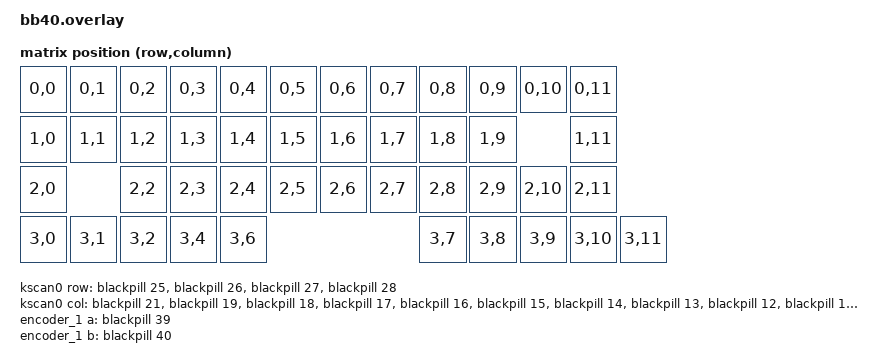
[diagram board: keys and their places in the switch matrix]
/*
 * Copyright (c) 2022 The ZMK Contributors
 *
 * SPDX-License-Identifier: MIT
 */

#include <dt-bindings/zmk/matrix_transform.h>

/ {
    chosen {
        zmk,kscan = &kscan0;
        zmk,matrix_transform = &default_transform;
    };

    kscan0: kscan {
        compatible = "zmk,kscan-gpio-matrix";
        label = "KSCAN";

        diode-direction = "col2row";
        row-gpios
            = <&blackpill 25 (GPIO_ACTIVE_HIGH | GPIO_PULL_DOWN)>
            , <&blackpill 26 (GPIO_ACTIVE_HIGH | GPIO_PULL_DOWN)>
            , <&blackpill 27 (GPIO_ACTIVE_HIGH | GPIO_PULL_DOWN)>
            , <&blackpill 28 (GPIO_ACTIVE_HIGH | GPIO_PULL_DOWN)>
            ;
        col-gpios
            = <&blackpill 21 GPIO_ACTIVE_HIGH>
            , <&blackpill 19 GPIO_ACTIVE_HIGH>
            , <&blackpill 18 GPIO_ACTIVE_HIGH>
            , <&blackpill 17 GPIO_ACTIVE_HIGH>
            , <&blackpill 16 GPIO_ACTIVE_HIGH>
            , <&blackpill 15 GPIO_ACTIVE_HIGH>
            , <&blackpill 14 GPIO_ACTIVE_HIGH>
            , <&blackpill 13 GPIO_ACTIVE_HIGH>
            , <&blackpill 12 GPIO_ACTIVE_HIGH>
            , <&blackpill 11 GPIO_ACTIVE_HIGH>
            , <&blackpill 10 GPIO_ACTIVE_HIGH>
            , <&blackpill 4  GPIO_ACTIVE_HIGH>
            ;
    };

	default_transform: keymap_transform_0 {
		compatible = "zmk,matrix-transform";
		columns = <12>;
		rows = <4>;
		map = <
            RC(0,0) RC(0,1) RC(0,2) RC(0,3) RC(0,4) RC(0,5) RC(0,6) RC(0,7) RC(0,8) RC(0,9) RC(0,10) RC(0,11)
            RC(1,0) RC(1,1) RC(1,2) RC(1,3) RC(1,4) RC(1,5) RC(1,6) RC(1,7) RC(1,8) RC(1,9)          RC(1,11)
            RC(2,0)      RC(2,2)    RC(2,3) RC(2,4) RC(2,5) RC(2,6) RC(2,7) RC(2,8) RC(2,9) RC(2,10) RC(2,11)
            RC(3,0)  RC(3,1) RC(3,2)       RC(3,4)         RC(3,6)         RC(3,7) RC(3,8) RC(3,9)   RC(3,10) RC(3,11)
		>;
	};

    encoder_1: encoder_1 {
        compatible = "alps,ec11";
        label = "Encoder 1";
        a-gpios = <&blackpill 39 (GPIO_ACTIVE_LOW | GPIO_PULL_UP)>;
        b-gpios = <&blackpill 40 (GPIO_ACTIVE_LOW | GPIO_PULL_UP)>;
        resolution = <4>;
        status = "disabled";
    };

};
